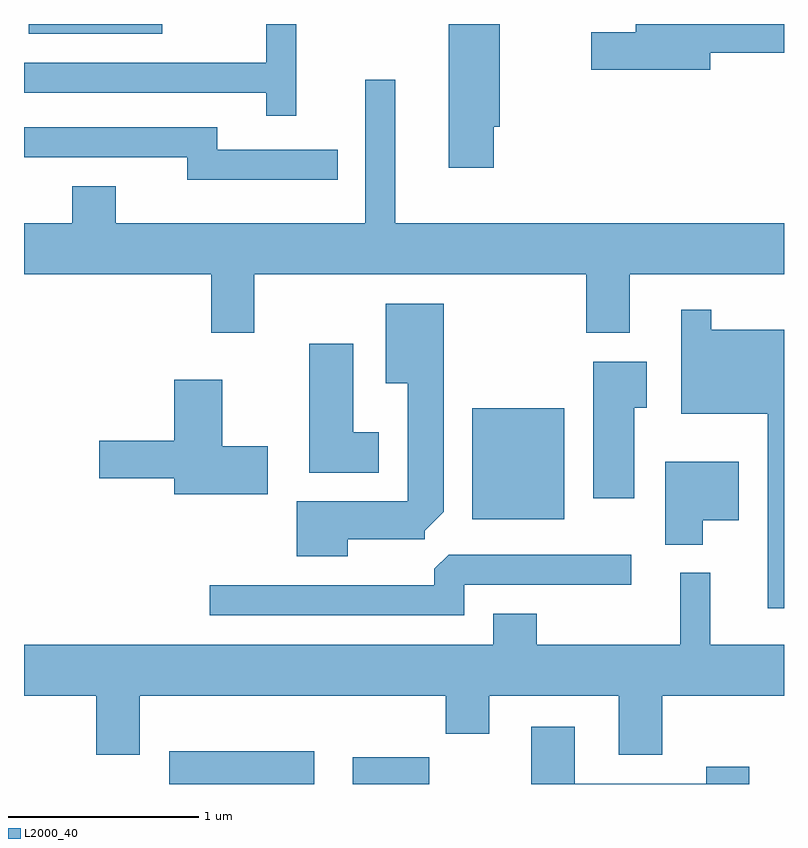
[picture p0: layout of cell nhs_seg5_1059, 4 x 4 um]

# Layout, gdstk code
import gdstk
lib = gdstk.Library(unit=1e-6, precision=1e-09)
def R(c, l, rs):  # rectangles x0, y0, x1, y1
    for r in rs: c.add(gdstk.rectangle(r[:2], r[2:], *l))
def P(c, l, *ps):  # polygons
    for p in ps: c.add(gdstk.Polygon(p, *l))
L2000_40 = (2000, 40)

nhs_seg5_1059 = lib.new_cell('nhs_seg5_1059')
R(nhs_seg5_1059, L2000_40, [(216.376,1494.072,217.139,1494.244), (217.341,1494.072,217.744,1494.214), (217.971,1495.466,218.454,1496.049), (215.636,1498.021,216.338,1498.072)])
P(nhs_seg5_1059, L2000_40, [(218.084,1497.531),(218.114,1497.531),(218.114,1498.072),(217.846,1498.072),(217.846,1497.316),(218.084,1497.316)],
  [(217.044,1498.072),(216.886,1498.072),(216.886,1497.869),(215.613,1497.869),(215.613,1497.711),(216.886,1497.711),(216.886,1497.588),(217.044,1497.588)],
  [(219.224,1497.921),(219.611,1497.921),(219.611,1498.072),(218.831,1498.072),(218.831,1498.029),(218.596,1498.029),(218.596,1497.831),(219.224,1497.831)],
  [(216.824,1496.756),(218.571,1496.756),(218.571,1496.446),(218.799,1496.446),(218.799,1496.756),(219.611,1496.756),(219.611,1497.024),(217.564,1497.024),(217.564,1497.778),(217.406,1497.778),(217.406,1497.024),(216.094,1497.024),(216.094,1497.219),(215.866,1497.219),(215.866,1497.024),(215.611,1497.024),(215.611,1496.756),(216.596,1496.756),(216.596,1496.446),(216.824,1496.446)],
  [(217.263,1497.409),(216.629,1497.409),(216.629,1497.529),(215.611,1497.529),(215.611,1497.371),(216.471,1497.371),(216.471,1497.251),(217.263,1497.251)],
  [(217.314,1495.361),(217.719,1495.361),(217.719,1495.404),(217.819,1495.504),(217.819,1496.599),(217.516,1496.599),(217.516,1496.181),(217.631,1496.181),(217.631,1495.559),(217.046,1495.559),(217.046,1495.271),(217.314,1495.271)],
  [(219.611,1496.464),(219.229,1496.464),(219.229,1496.568),(219.071,1496.568),(219.071,1496.021),(219.526,1496.021),(219.526,1494.998),(219.611,1494.998)],
  [(217.479,1495.924),(217.344,1495.924),(217.344,1496.389),(217.111,1496.389),(217.111,1495.711),(217.479,1495.711)],
  [(218.824,1496.051),(218.889,1496.051),(218.889,1496.294),(218.606,1496.294),(218.606,1495.576),(218.824,1495.576)],
  [(216.894,1495.849),(216.654,1495.849),(216.654,1496.199),(216.401,1496.199),(216.401,1495.879),(216.006,1495.879),(216.006,1495.681),(216.401,1495.681),(216.401,1495.596),(216.894,1495.596)],
  [(219.184,1495.461),(219.374,1495.461),(219.374,1495.769),(218.986,1495.769),(218.986,1495.331),(219.184,1495.331)],
  [(217.929,1495.121),(218.808,1495.121),(218.808,1495.279),(217.847,1495.279),(217.771,1495.204),(217.771,1495.119),(216.588,1495.119),(216.588,1494.961),(217.929,1494.961)],
  [(216.219,1494.536),(217.831,1494.536),(217.831,1494.336),(218.059,1494.336),(218.059,1494.536),(218.741,1494.536),(218.741,1494.226),(218.969,1494.226),(218.969,1494.536),(219.611,1494.536),(219.611,1494.804),(219.224,1494.804),(219.224,1495.183),(219.066,1495.183),(219.066,1494.804),(218.309,1494.804),(218.309,1494.969),(218.081,1494.969),(218.081,1494.804),(215.611,1494.804),(215.611,1494.536),(215.991,1494.536),(215.991,1494.226),(216.219,1494.226)],
  [(219.429,1494.164),(219.201,1494.164),(219.201,1494.074),(218.509,1494.074),(218.509,1494.374),(218.281,1494.374),(218.281,1494.072),(219.429,1494.072)])

lib.write_gds('nhs_seg5_1059.gds')
